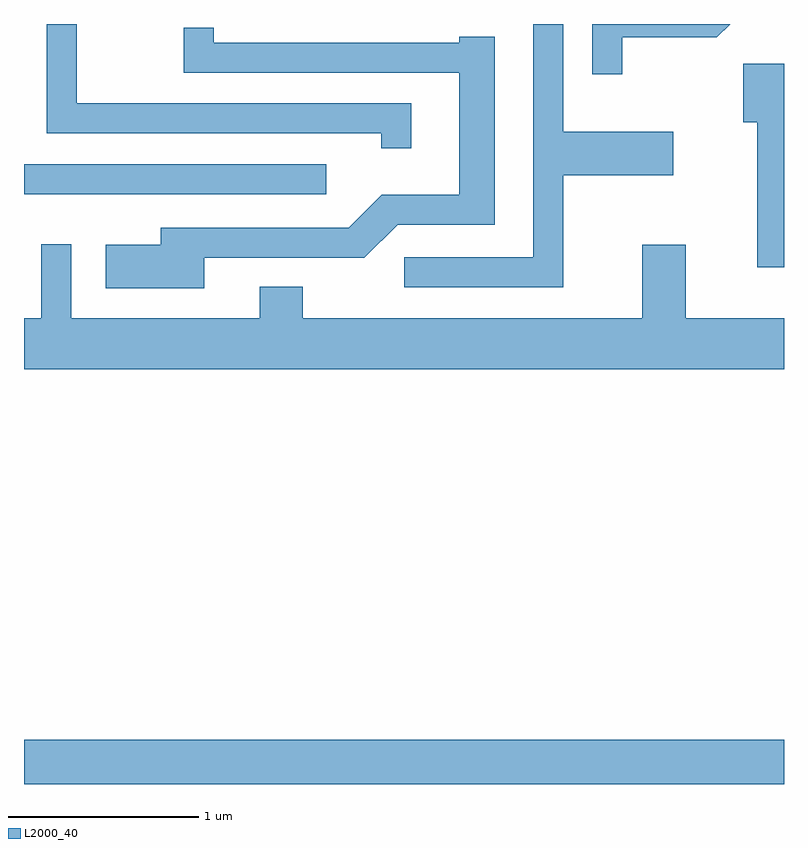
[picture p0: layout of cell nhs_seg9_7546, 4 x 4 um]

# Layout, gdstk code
import gdstk
lib = gdstk.Library(unit=1e-6, precision=1e-09)
def R(c, l, rs):  # rectangles x0, y0, x1, y1
    for r in rs: c.add(gdstk.rectangle(r[:2], r[2:], *l))
def P(c, l, *ps):  # polygons
    for p in ps: c.add(gdstk.Polygon(p, *l))
L2000_40 = (2000, 40)

nhs_seg9_7546 = lib.new_cell('nhs_seg9_7546')
R(nhs_seg9_7546, L2000_40, [(407.611,2078.432,411.611,2078.664), (407.611,2081.536,409.203,2081.694)])
P(nhs_seg9_7546, L2000_40, [(410.759,2082.361),(411.257,2082.361),(411.328,2082.432),(410.601,2082.432),(410.601,2082.168),(410.759,2082.168)],
  [(410.449,2081.636),(411.029,2081.636),(411.029,2081.864),(410.449,2081.864),(410.449,2082.432),(410.291,2082.432),(410.291,2081.204),(409.613,2081.204),(409.613,2081.046),(410.449,2081.046)],
  [(409.649,2082.014),(407.889,2082.014),(407.889,2082.432),(407.731,2082.432),(407.731,2081.856),(409.491,2081.856),(409.491,2081.778),(409.649,2081.778)],
  [(408.559,2081.201),(409.402,2081.201),(409.577,2081.376),(410.089,2081.376),(410.089,2082.364),(409.901,2082.364),(409.901,2082.334),(408.609,2082.334),(408.609,2082.413),(408.451,2082.413),(408.451,2082.176),(409.901,2082.176),(409.901,2081.534),(409.494,2081.534),(409.319,2081.359),(408.331,2081.359),(408.331,2081.269),(408.041,2081.269),(408.041,2081.041),(408.559,2081.041)],
  [(411.611,2082.224),(411.396,2082.224),(411.396,2081.916),(411.471,2081.916),(411.471,2081.151),(411.611,2081.151)],
  [(411.611,2080.884),(411.094,2080.884),(411.094,2081.269),(410.866,2081.269),(410.866,2080.884),(409.079,2080.884),(409.079,2081.049),(408.851,2081.049),(408.851,2080.884),(407.859,2080.884),(407.859,2081.273),(407.701,2081.273),(407.701,2080.884),(407.611,2080.884),(407.611,2080.616),(411.611,2080.616)])

lib.write_gds('nhs_seg9_7546.gds')
